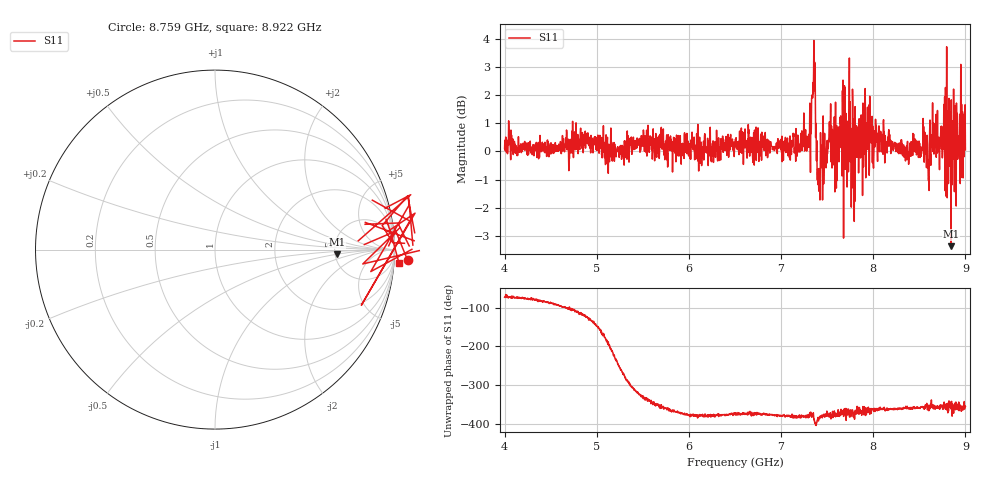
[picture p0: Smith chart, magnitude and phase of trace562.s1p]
! Created with skrf 1.8.0 (http://scikit-rf.org).
# Hz S RI R 50.0
!freq ReS11 ImS11
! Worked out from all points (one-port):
!   1601 points, 4 GHz to 9 GHz, reference 50 ohm
!   lowest |S11| = -3.4 dB at 8.844 GHz (marker M1), VSWR 5.22, Z = 259 - j25.9 ohm
!   |S11| at or under -10 dB: nowhere
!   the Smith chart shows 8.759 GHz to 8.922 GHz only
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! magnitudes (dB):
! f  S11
! 4 GHz  0.1
! 4.625 GHz  0.1
! 5.25 GHz  0.2
! 5.875 GHz  -0.1
! 6.5 GHz  0.2
! 7.125 GHz  0.2
! 7.294 GHz  0.2
! 7.347 GHz  2.4
! 7.366 GHz  2.2
! 7.4 GHz  -0.7
! 7.416 GHz  -1.3
! 7.525 GHz  1.1
! 7.575 GHz  0.3
! 7.65 GHz  0.4
! 7.703 GHz  -0.4
! 7.75 GHz  0.2
! 7.775 GHz  2.2
! 7.828 GHz  0.3
! 7.962 GHz  2.0
! 8.375 GHz  0.1
! 8.562 GHz  -0.1
! 8.6 GHz  -1.0
! 8.656 GHz  0.4
! 8.728 GHz  0.2
! 8.788 GHz  0.0
! 8.844 GHz  -3.4
! 8.972 GHz  0.5
! 9 GHz  0.1
